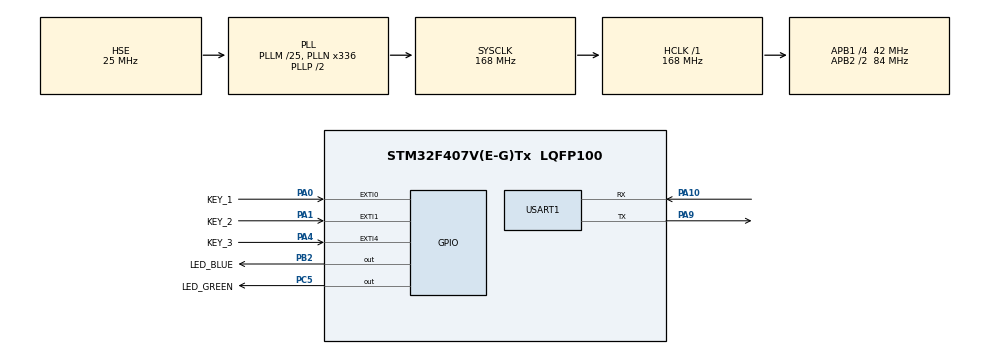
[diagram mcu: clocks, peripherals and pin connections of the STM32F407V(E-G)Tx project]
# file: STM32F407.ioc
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Dma.Request0=USART1_RX
Dma.Request1=USART1_TX
Dma.USART1_RX.0.Direction=DMA_PERIPH_TO_MEMORY
Dma.USART1_RX.0.FIFOMode=DMA_FIFOMODE_DISABLE
Dma.USART1_RX.0.Instance=DMA2_Stream2
Dma.USART1_RX.0.MemDataAlignment=DMA_MDATAALIGN_BYTE
Dma.USART1_RX.0.MemInc=DMA_MINC_ENABLE
Dma.USART1_RX.0.Mode=DMA_NORMAL
Dma.USART1_RX.0.PeriphDataAlignment=DMA_PDATAALIGN_BYTE
Dma.USART1_RX.0.PeriphInc=DMA_PINC_DISABLE
Dma.USART1_RX.0.Priority=DMA_PRIORITY_LOW
Dma.USART1_TX.1.Direction=DMA_MEMORY_TO_PERIPH
Dma.USART1_TX.1.FIFOMode=DMA_FIFOMODE_DISABLE
Dma.USART1_TX.1.Instance=DMA2_Stream7
Dma.USART1_TX.1.MemDataAlignment=DMA_MDATAALIGN_BYTE
Dma.USART1_TX.1.MemInc=DMA_MINC_ENABLE
Dma.USART1_TX.1.Mode=DMA_NORMAL
Dma.USART1_TX.1.PeriphDataAlignment=DMA_PDATAALIGN_BYTE
Dma.USART1_TX.1.PeriphInc=DMA_PINC_DISABLE
Dma.USART1_TX.1.Priority=DMA_PRIORITY_LOW
Mcu.Family=STM32F4
Mcu.Name=STM32F407V(E-G)Tx
Mcu.Package=LQFP100
NVIC.DMA2_Stream2_IRQn=true\:0\:0\:false\:false\:true\:false\:true\:true
NVIC.DMA2_Stream7_IRQn=true\:0\:0\:false\:false\:true\:false\:true\:true
NVIC.EXTI0_IRQn=true\:0\:0\:false\:false\:true\:true\:true\:true
NVIC.EXTI1_IRQn=true\:0\:0\:false\:false\:true\:true\:true\:true
NVIC.EXTI4_IRQn=true\:0\:0\:false\:false\:true\:true\:true\:true
NVIC.PriorityGroup=NVIC_PRIORITYGROUP_4
NVIC.USART1_IRQn=true\:0\:0\:false\:false\:true\:true\:true\:true
PA0-WKUP.GPIO_Label=KEY_1
PA0-WKUP.GPIO_ModeDefaultEXTI=GPIO_MODE_IT_RISING
PA0-WKUP.GPIO_PuPd=GPIO_PULLDOWN
PA0-WKUP.Signal=GPXTI0
PA1.GPIO_Label=KEY_2
PA1.GPIO_ModeDefaultEXTI=GPIO_MODE_IT_FALLING
PA1.GPIO_PuPd=GPIO_PULLUP
PA1.Signal=GPXTI1
PA10.Mode=Asynchronous
PA10.Signal=USART1_RX
PA13.Mode=Serial_Wire
PA13.Signal=SYS_JTMS-SWDIO
PA14.Mode=Serial_Wire
PA14.Signal=SYS_JTCK-SWCLK
PA4.GPIO_Label=KEY_3
PA4.GPIO_ModeDefaultEXTI=GPIO_MODE_IT_FALLING
PA4.GPIO_PuPd=GPIO_PULLUP
PA4.Signal=GPXTI4
PA9.Mode=Asynchronous
PA9.Signal=USART1_TX
PB2.GPIO_Label=LED_BLUE
PB2.Signal=GPIO_Output
PC5.GPIO_Label=LED_GREEN
PC5.Signal=GPIO_Output
PH0-OSC_IN.Mode=HSE-External-Oscillator
PH0-OSC_IN.Signal=RCC_OSC_IN
PH1-OSC_OUT.Mode=HSE-External-Oscillator
PH1-OSC_OUT.Signal=RCC_OSC_OUT
ProjectManager.HeapSize=0x200
ProjectManager.StackSize=0x1000
ProjectManager.TargetToolchain=MDK-ARM V5.32
RCC.48MHZClocksFreq_Value=84000000
RCC.AHBFreq_Value=168000000
RCC.APB1CLKDivider=RCC_HCLK_DIV4
RCC.APB1Freq_Value=42000000
RCC.APB1TimFreq_Value=84000000
RCC.APB2CLKDivider=RCC_HCLK_DIV2
RCC.APB2Freq_Value=84000000
RCC.APB2TimFreq_Value=168000000
RCC.CortexFreq_Value=168000000
RCC.HCLKFreq_Value=168000000
RCC.HSE_VALUE=25000000
RCC.HSI_VALUE=16000000
RCC.LSE_VALUE=32768
RCC.PLLM=25
RCC.PLLN=336
RCC.PLLSourceVirtual=RCC_PLLSOURCE_HSE
RCC.SYSCLKFreq_VALUE=168000000
RCC.SYSCLKSource=RCC_SYSCLKSOURCE_PLLCLK
RCC.VCOOutputFreq_Value=336000000
USART1.VirtualMode=VM_ASYNC
board=custom

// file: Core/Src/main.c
/* USER CODE BEGIN Header */
/***********************************************************************************************************************************
 ** 【代码编写】  魔女开发板团队
 ** 【淘    宝】  魔女开发板       https://demoboard.taobao.com
 ***********************************************************************************************************************************
 ** 【实验名称】  STM32F407 USART1 —— DMA+空闲中断 收发 + printf重定向
 **
 ** 【适用平台】  STM32F407 + keil5 + HAL库
 **
 ** 【 CubeMX 】  1- 开启外部高速晶振 HSE，系统时钟配置为 168MHz；
 **               2- 开启 USART1，异步模式，配置常用波特率；
 **               3- 开启 USART1_RX 的 DMA，模式为 Normal；
 **               4- 开启 USART1 全局中断，配置优先级；
 **               5- 配置 LED 与按键 GPIO 作为辅助指示；
 **
 ** 【功能说明】  本工程实现串口完整高效通信：
 **               1- USART1 采用 DMA + 空闲中断接收，不占用 CPU；
 **               2- 支持阻塞/中断/DMA 三种发送方式，代码示范齐全；
 **               3- printf 重定向到 USART1，无需 MicroLIB，关闭半主机；
 **               4- 接收数据自动解析，支持 ASCII + 十六进制打印；
 **               5- 按键外部中断控制 LED，串口打印按键信息；
 **               6- 绿灯 500ms 无阻塞闪烁，指示系统运行；
 **
 ** 【代码使用】  1- 上电自动打印系统时钟，发送测试字符串；
 **               2- 串口发送数据 → 自动接收并回显内容；
 **               3- 按键触发中断 → 翻转 LED + 串口打印提示；
 **               4- 主循环无阻塞，可同时运行多任务；
 **
 ** 【划 重  点】  1- 接收：HAL_UARTEx_ReceiveToIdle_DMA（DMA+空闲中断）；
 **               2- 回调函数：HAL_UARTEx_RxEventCallback；
 **               3- printf 重定向：fputc + 关闭半主机模式；
 **               4- 串口发送必须判断 gState 状态，避免覆盖；
 **               5- 接收完成必须重新开启 DMA，实现循环接收；
 **
 *******************************************************************************/
/* USER CODE END Header */
#include "main.h"
#include "dma.h"
#include "usart.h"
#include "gpio.h"

/* USER CODE BEGIN Includes */
/* 所有用户代码，必须写在配对的BEGIN与END注释行之间，否则重新生成时会被删除 */
#include <stdio.h>              // 用于sprintf函数
#include <string.h>

/* USER CODE END Includes */

void SystemClock_Config(void);

/* USER CODE BEGIN 0 */
/* 所有用户代码，必须写在配对的BEGIN与END注释行之间，否则重新生成时会被删除 */

// 定义串口的结构体; 为了方便使用，一次过全定义了
xUATR_TypeDef xUART1 = {0};          // 定义结构体，用于UART1。也可以不用结构体，用单独的变量
xUATR_TypeDef xUART2 = {0};          // 定义结构体，用于UART2。也可以不用结构体，用单独的变量
xUATR_TypeDef xUART3 = {0};          // 定义结构体，用于UART3。也可以不用结构体，用单独的变量
xUATR_TypeDef xUART4 = {0};          // 定义结构体，用于UART4。也可以不用结构体，用单独的变量
xUATR_TypeDef xUART5 = {0};          // 定义结构体，用于UART5。也可以不用结构体，用单独的变量
xUATR_TypeDef xUART6 = {0};          // 定义结构体，用于UART6。也可以不用结构体，用单独的变量

/* USER CODE END 0 */

int main(void)
{
    /* USER CODE BEGIN 1 */

    /* 说明：
     * 1. 不要删除CubeMX生成的注释行（形如 USER CODE BEGIN/END），这些注释用于代码重新生成时的定位
     * 2. 所有用户自定义代码必须写在对应的BEGIN与END注释行之间，否则重新生成时会被覆盖
     * 3. 主要初始化函数说明：
     *    - HAL_Init()            初始化HAL库，配置中断优先级、系统时基等
     *    - SystemClock_Config()  配置系统时钟
     *    - MX_GPIO_Init()        初始化GPIO引脚（仅包含推挽输出、中断触发等配置）
     *    - 外设功能引脚（如UART、SPI等）的初始化在各自的功能文件中
     */

    /* USER CODE END 1 */

    /* MCU Configuration--------------------------------------------------------*/

    /* Reset of all peripherals, Initializes the Flash interface and the Systick. */
    HAL_Init();

    /* Configure the system clock */
    SystemClock_Config();

    /* Initialize all configured peripherals */
    MX_GPIO_Init();
    MX_DMA_Init();
    MX_USART1_UART_Init();
    /* USER CODE BEGIN 2 */
    /* 所有用户代码，必须写在配对的BEGIN与END注释行之间，否则重新生成时会被删除 */

    // LED控制-绿色LED使用了PC5，置高电平-灭，置低电平-亮
    HAL_GPIO_WritePin(GPIOC, GPIO_PIN_5, GPIO_PIN_SET);                            // 引脚置高电平，绿亮灭

    // 开启USART1的接收：DMA+空闲中断
    HAL_UARTEx_ReceiveToIdle_DMA(&huart1, xUART1.RxTemp, sizeof(xUART1.RxTemp));   // 开启DMA+空闲中断接收; 配合回调函数使用(在main.c的最下方：HAL_UARTEx_RxEventCallback());

    // printf 调试使用
    // 必须重定向后再使用，否则卡死。重定向代码，即最下方的fputc()
    printf("\r系统运行时钟：%d MHz\r\r", SystemCoreClock / 1000000);               // 发送方式1：使用printf发送，它有灵活的格式化，很适合处理字符串; 注意：printf需要重定向fputc函数才能使用，否则程序会卡死; 本示例已重写fputc, 在main.c的底部附近

    // 定义发送测试字符串
    static char send_buf[100] = "Hello World! 你好吗？\r\n";
    uint16_t send_len = strlen(send_buf); // 获取字符串长度（不含结束符）

    // 1. 阻塞式发送（不推荐）
    HAL_UART_Transmit(&huart1, (uint8_t*)send_buf, send_len, 0xFFFF);              // 阻塞式发送，当调用后，程序会一直死等，不干其它事了(中断除外)，直到发送完毕

    // 2. 中断式发送（推荐，等待上一次发送完成再执行）
    while(huart1.gState != HAL_UART_STATE_READY);                                  // 等待中断发送完成
    HAL_UART_Transmit_IT(&huart1, (uint8_t*)send_buf, send_len);                   // 中断发送，非阻塞式，大大减少资源占用; 注意：当上次的调用还没完成发送，下次的调用会直接返回(放弃)，所以，要想连接发送，两行调用间，要么判断串口结构体gState的值，要么调用延时HAL_Delay(ms), ms值要大于前一帧发送用时, 用时计算：1/(波特率*11*前一帧字节数)

    // 3. DMA发送（最优推荐，非阻塞，CPU零占用）
    while(huart1.gState != HAL_UART_STATE_READY);                                  // 等待中断发送完成
    HAL_UART_Transmit_DMA(&huart1, (uint8_t*)send_buf, send_len);                  // DMA发送，非阻塞式，最大限度减少资源占用; 注意：当上次的调用还没完成发送，下次的调用会直接返回(放弃); 所以，要想连接发送，两行调用间，要么判断串口结构体gState的值，要么调用延时HAL_Delay(ms), ms值要大于前一帧发送用时，用时计算：1/(波特率*11*前一帧字节数)

    /* USER CODE END 2 */

    /* Infinite loop */
    while (1)
    {

        /* USER CODE BEGIN 3 */
        /* 所有用户代码，必须写在配对的BEGIN与END注释行之间，否则重新生成时会被删除 */

        /** 1ms 延时 **/
        HAL_Delay(1 - 1);                                                  // 延时函数，参数：ms; 注意：CubeMX生成的HAL_Delay(), 函数内部为避免无效操作，会对传入参数+1，因此，如果只需要几ms延时建议传入参数时-1，如果需要大几百ms的非精准延时，那参数不-1也影响不大

        /** USART1 的接收示范(通过串口助手自发自收） **/
        if (xUART1.RxNum)
        {
            printf("\r<<<<< UART1 接收到一帧数据 \r");                     // 提示
            printf("字节数：%d \r", xUART1.RxNum);                         // 显示字节数
            printf("ASCII : %s\r", (char *)xUART1.RxData);                 // 显示数据，以ASCII方式显示，即以字符串的方式显示
            printf("16进制: ");                                            // 显示数据，以16进制方式，显示每一个字节的值
            for (uint16_t i = 0; i < xUART1.RxNum; i++)                    // 逐个字节输出
                printf("0x%X ", xUART1.RxData[i]);                         // 以16进制显示
            printf("\r\r");                                                // 显示换行

            xUART1.RxNum = 0;                                              // 清0接收标记
        }

        /** 每500ms执行一次的任务 **/
        static uint32_t lastTime_500ms = 0;                                // 定义静态变量，用于记录上次执行这个任务的时间点(单位：毫秒)
        if (HAL_GetTick() - lastTime_500ms >= 500)                         // 检查当前时间距离上次执行是否已经过了500毫秒; HAL_GetTick()是获取启动后经过的毫秒数
        {
            HAL_GPIO_TogglePin(LED_GREEN_GPIO_Port, LED_GREEN_Pin);        // 控制绿色LED引脚电平翻转(PC5); 规律地闪烁LED，方便外部观察系统是否正常运行
            lastTime_500ms =   HAL_GetTick();                              // 记录当前时间，作为新的基准点，为下一次判断做准备
        }

    }
    /* USER CODE END 3 */
}

void SystemClock_Config(void)
{
    RCC_OscInitTypeDef RCC_OscInitStruct = {0};
    RCC_ClkInitTypeDef RCC_ClkInitStruct = {0};

    /** Configure the main internal regulator output voltage
    */
    __HAL_RCC_PWR_CLK_ENABLE();
    __HAL_PWR_VOLTAGESCALING_CONFIG(PWR_REGULATOR_VOLTAGE_SCALE1);

    /** Initializes the RCC Oscillators according to the specified parameters
    * in the RCC_OscInitTypeDef structure.
    */
    RCC_OscInitStruct.OscillatorType = RCC_OSCILLATORTYPE_HSE;
    RCC_OscInitStruct.HSEState = RCC_HSE_ON;
    RCC_OscInitStruct.PLL.PLLState = RCC_PLL_ON;
    RCC_OscInitStruct.PLL.PLLSource = RCC_PLLSOURCE_HSE;
    RCC_OscInitStruct.PLL.PLLM = 25;
    RCC_OscInitStruct.PLL.PLLN = 336;
    RCC_OscInitStruct.PLL.PLLP = RCC_PLLP_DIV2;
    RCC_OscInitStruct.PLL.PLLQ = 4;
    if (HAL_RCC_OscConfig(&RCC_OscInitStruct) != HAL_OK)
    {
        Error_Handler();
    }

    /** Initializes the CPU, AHB and APB buses clocks
    */
    RCC_ClkInitStruct.ClockType = RCC_CLOCKTYPE_HCLK | RCC_CLOCKTYPE_SYSCLK
                                  | RCC_CLOCKTYPE_PCLK1 | RCC_CLOCKTYPE_PCLK2;
    RCC_ClkInitStruct.SYSCLKSource = RCC_SYSCLKSOURCE_PLLCLK;
    RCC_ClkInitStruct.AHBCLKDivider = RCC_SYSCLK_DIV1;
    RCC_ClkInitStruct.APB1CLKDivider = RCC_HCLK_DIV4;
    RCC_ClkInitStruct.APB2CLKDivider = RCC_HCLK_DIV2;

    if (HAL_RCC_ClockConfig(&RCC_ClkInitStruct, FLASH_LATENCY_5) != HAL_OK)
    {
        Error_Handler();
    }
}

/* USER CODE BEGIN 4 */
/* 所有用户代码，必须写在配对的BEGIN与END注释行之间，否则重新生成时会被删除 */

/******************************************************************************
 * 函  数： HAL_GPIO_EXTI_Callback
 * 功  能： EXTI中断回调函数
 * 参  数： uint16_t  GPIO_Pin    引脚编号，参数范围：GPIO_Pin_0 ~ GPIO_Pin_15
 * 返回值： 无
 * 备  注： CubeMX生成的代码在思维和风格上，与使用标准库编写时有很大的区别：
 *          1：这个是回调函数，不是中断服务函数。完整的调用：EXTIx_IRQHandler() > HAL_GPIO_EXTI_IRQHandler(GPIO_PIN_x) > HAL_GPIO_EXTI_Callback(GPIO_PIN_x)
 *          2：必须使用这个函数名称，因为它在CubeMX生成时，已被写好了各种函数调用、函数弱定义(在stm32xx_hal_gpio.c的底部); 不建议在原弱定义中增添代码，而是重写本函数
 *          3：中断条件触发后，本函数被自动调用，无需进行人工调用; 也无需进行中断标志的清理，因为HAL_GPIO_EXTI_IRQHandler()函数中已有操作;
 *          4：生成的所有EXTI中断服务函数，都统一调用这个函数，以引脚编号作参数
 *          5：判断参数传进来的引脚编号，即可知道是哪个外部中断线产生的中断信号
******************************************************************************/
void HAL_GPIO_EXTI_Callback(uint16_t GPIO_Pin)
{
    if (GPIO_Pin == KEY_1_Pin)                                  // 按键1 产生的中断信号：KEY_1、PA0、闲时下拉、按下时高电平、上升沿触发
    {
        HAL_GPIO_TogglePin(GPIOB, GPIO_PIN_2);                  // 反转蓝色LED灯
        printf("KEY_1 按下\r");                                 // 通过串口助手输出提示
    }

    if (GPIO_Pin == KEY_2_Pin)                                  // 按键2 产生的中断信号：KEY_2、PA1、闲时上拉、按下时低电平、下降沿触发
    {
        HAL_GPIO_TogglePin(GPIOB, GPIO_PIN_2);                  // 反转蓝色LED灯
        printf("KEY_2 按下\r");                                 // 通过串口助手输出提示
    }

    if (GPIO_Pin == KEY_3_Pin)                                  // 按键3 产生的中断信号：KEY_3、PA4、闲时上拉、按下低高电平、下降沿触发
    {
        HAL_GPIO_TogglePin(GPIOB, GPIO_PIN_2);                  // 反转蓝色LED灯
        printf("KEY_3 按下\r");                                 // 通过串口助手输出提示
    }
}

/******************************************************************************
 * 功  能： 将printf的输出重定向到UART1
 * 说  明： 1. 无需勾选MicroLIB，关闭半主机模式即可
 *          2. 使用阻塞式发送，避免与中断/DMA发送冲突
 *          3. 复制本函数到你的工程，即可使用
 * 参  数：
 * 返回值：
 * 备  注： 最后修改_2020年07月15日
 ******************************************************************************/
#include <stdio.h> // 包含printf/fputc头文件
#pragma import(__use_no_semihosting) // 关闭半主机模式

// 标准库需要的文件结构体（必须定义）
struct __FILE
{
    int handle;
};
FILE __stdout; // 定义标准输出流（printf使用）

// 关闭半主机模式的_sys_exit函数（避免编译报错）
void _sys_exit(int x)
{
    x = x; // 空操作，仅用于占坑
}

// 重写fputc函数
int fputc(int ch, FILE *f)
{
    HAL_UART_Transmit(&huart1, (uint8_t *)&ch, 1, 1);    // 阻塞式发送1个字符，超时时间1ms (防止卡死，不影响调试)
    return ch; // 返回发送的字符，兼容标准库
}

/******************************************************************************
 * 函  数： HAL_UARTEx_RxEventCallback
 * 功  能： DMA+空闲中断回调函数
 * 参  数： UART_HandleTypeDef  *huart   // 触发的串口
 *          uint16_t             Size    // 接收字节
 * 返回值： 无
 * 备  注： 1：这个是回调函数，不是中断服务函数。技巧：使用CubeMX生成的工程中，中断服务函数已被CubeMX安排妥当，我们只管重写回调函数
 *          2：触发条件：当DMA接收到指定字节数时，或产生空闲中断时，硬件就会自动调用本回调函数，无需进行人工调用;
 *          2：必须使用这个函数名称，因为它在CubeMX生成时，已被写好了各种函数调用、函数弱定义(在stm32xx_hal_uart.c的底部); 不要在原弱定义中增添代码，而是重写本函数
 *          3：无需进行中断标志的清理，它在被调用前，已有清中断的操作;
 *          4：生成的所有DMA+空闲中断服务函数，都会统一调用这个函数，以引脚编号作参数
 *          5：判断参数传进来的引脚编号，即可知道是哪个串口接收收了多少字节
******************************************************************************/
void HAL_UARTEx_RxEventCallback(UART_HandleTypeDef *huart, uint16_t Size)
{
#if 1
    // 处理UART1的中断
    if (huart == &huart1)
    {
        __HAL_UNLOCK(huart); // 解锁串口状态（避免HAL库状态锁死）

        // 1. 保存实际接收字节数（业务层通过判断RxNum>0识别新数据）
        xUART1.RxNum = Size;
        // 2. 清0对外缓存，准备存放新数据
        memset(xUART1.RxData, 0, sizeof(xUART1.RxData));
        // 3. 双缓存复制：将临时缓存的新数据复制到对外缓存
        memcpy(xUART1.RxData, xUART1.RxTemp, Size);
        // 4. 重开DMA空闲中断：实现循环接收（关键，否则仅接收一帧）
        HAL_UARTEx_ReceiveToIdle_DMA(&huart1, xUART1.RxTemp, sizeof(xUART1.RxTemp));
    }
#endif

#if 0
    // 处理UART2的中断
    if (huart == &huart2)                                                             // 判断串口
    {
        __HAL_UNLOCK(huart);                                                          // 解锁串口状态
        xUART2.RxNum  = Size;                                                         // 接收完成标志
        memset(xUART2.RxData, 0, sizeof(xUART2.RxData));                              // 清0前一帧的接收数据
        memcpy(xUART2.RxData, xUART2.RxTemp, Size);                                   // 把新数据，从临时缓存中，复制到xUART2.ReceivedData[], 以备使用
        HAL_UARTEx_ReceiveToIdle_DMA(&huart2, xUART2.RxTemp, sizeof(xUART2.RxTemp));  // 再次开启DMA空闲中断; 每当接收完指定长度，或者产生空闲中断时，就会来到这个
    }
#endif

#if 0
    // 处理UART3的中断
    if (huart == &huart3)                                                             // 判断串口
    {
        __HAL_UNLOCK(huart);                                                          // 解锁串口状态
        xUART3.RxNum  = Size;                                                         // 接收完成标志
        memset(xUART3.RxData, 0, sizeof(xUART3.RxData));                              // 清0前一帧的接收数据
        memcpy(xUART3.RxData, xUART3.RxTemp, Size);                                   // 把新数据，从临时缓存中，复制到xUART3.ReceivedData[], 以备使用
        HAL_UARTEx_ReceiveToIdle_DMA(&huart3, xUART3.RxTemp, sizeof(xUART3.RxTemp));  // 再次开启DMA空闲中断; 每当接收完指定长度，或者产生空闲中断时，就会来到这个
    }
#endif

#if 0
    // 处理UART4的中断
    if (huart == &huart4)                                                             // 判断串口
    {
        __HAL_UNLOCK(huart);                                                          // 解锁串口状态
        xUART4.RxNum  = Size;                                                         // 接收完成标志
        memset(xUART4.RxData, 0, sizeof(xUART4.RxData));                              // 清0前一帧的接收数据
        memcpy(xUART4.RxData, xUART4.RxTemp, Size);                                   // 把新数据，从临时缓存中，复制到xUART4.ReceivedData[], 以备使用
        HAL_UARTEx_ReceiveToIdle_DMA(&huart4, xUART4.RxTemp, sizeof(xUART4.RxTemp));  // 再次开启DMA空闲中断; 每当接收完指定长度，或者产生空闲中断时，就会来到这个
    }
#endif

#if 0
    // 处理UART5的中断
    if (huart == &huart5)                                                             // 判断串口
    {
        __HAL_UNLOCK(huart);                                                          // 解锁串口状态
        xUART5.RxNum  = Size;                                                         // 接收完成标志
        memset(xUART5.RxData, 0, sizeof(xUART5.RxData));                              // 清0前一帧的接收数据
        memcpy(xUART5.RxData, xUART5.RxTemp, Size);                                   // 把新数据，从临时缓存中，复制到xUART5.ReceivedData[], 以备使用
        HAL_UARTEx_ReceiveToIdle_DMA(&huart5, xUART5.RxTemp, sizeof(xUART5.RxTemp));  // 再次开启DMA空闲中断; 每当接收完指定长度，或者产生空闲中断时，就会来到这个
    }
#endif

#if 0
    // 处理UART6的中断
    if (huart == &huart6)                                                             // 判断串口
    {
        __HAL_UNLOCK(huart);                                                          // 解锁串口状态
        xUART6.RxNum  = Size;                                                         // 接收完成标志
        memset(xUART6.RxData, 0, sizeof(xUART6.RxData));                              // 清0前一帧的接收数据
        memcpy(xUART6.RxData, xUART6.RxTemp, Size);                                   // 把新数据，从临时缓存中，复制到xUART6.ReceivedData[], 以备使用
        HAL_UARTEx_ReceiveToIdle_DMA(&huart6, xUART6.RxTemp, sizeof(xUART6.RxTemp));  // 再次开启DMA空闲中断; 每当接收完指定长度，或者产生空闲中断时，就会来到这个
    }
#endif
}

/* 所有用户代码，必须写在配对的BEGIN与END注释行之间，否则重新生成时会被删除 */
/* USER CODE END 4 */

void Error_Handler(void)
{
    __disable_irq();
    while (1)
    {
    }
}
